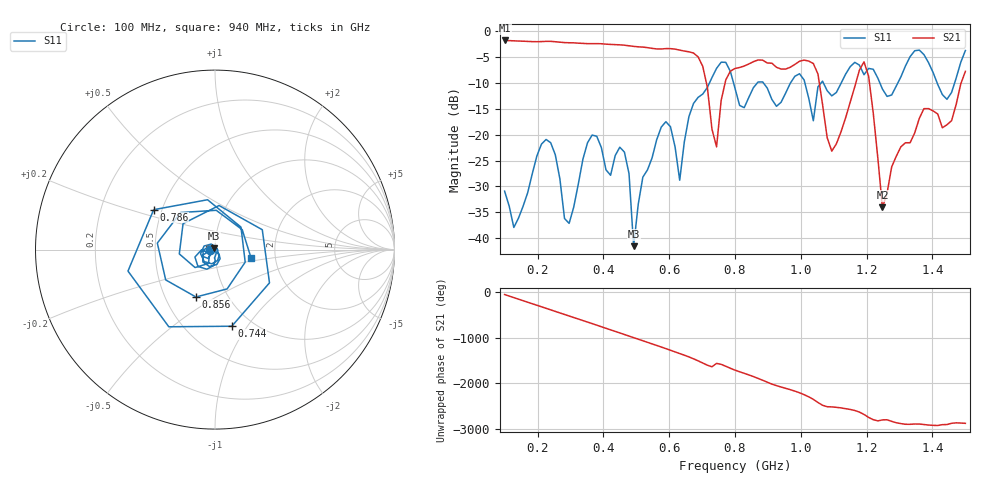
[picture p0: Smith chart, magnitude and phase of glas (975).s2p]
! NanoVNA-App
! Date: 2025-09-25 16:03:03
! Start: 100MHz Stop: 1,5GHz Points: 101
! S-Parameter data: F S11 S21 S12 S22
# Hz S RI R 50
!  Frequency  S11_Real  S11_Imag  S21_Real  S21_Imag  S12_Real  S12_Imag  S22_Real  S22_Imag
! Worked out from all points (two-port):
!   101 points, 100 MHz to 1.5 GHz, reference 50 ohm
!   highest |S21| = -1.80 dB at 100 MHz (marker M1); lowest = -34.1 dB at 1.248 GHz (marker M2)
!   |S21| within 3 dB of the highest: start of sweep to 684.7 MHz
!   lowest |S11| = -41.5 dB at 492 MHz (marker M3), VSWR 1.02, Z = 49.5 + j0.661 ohm
!   |S11| at or under -10 dB: start of sweep to 722.5 MHz; 795.5 MHz to 867.8 MHz (72.28 MHz wide, 8.69 % of centre); 886.3 MHz to 968.7 MHz (82.41 MHz wide, 8.89 % of centre) (the widest 3 of 7)
!   S12 and S22 are empty: the file has one direction only
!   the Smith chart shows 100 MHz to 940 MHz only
!   S11 on the Smith chart (normalised r, x): 100 MHz: 0.94, -0.01; 744 MHz: 0.81, -0.85; 786 MHz: 0.45, +0.24; 856 MHz: 0.71, -0.41; 940 MHz: 1.49, -0.14
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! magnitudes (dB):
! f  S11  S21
! 100 MHz  -30.9  -1.8
! 128 MHz  -37.9  -1.9
! 226 MHz  -20.9  -2.0
! 296 MHz  -37.1  -2.2
! 338 MHz  -24.7  -2.4
! 464 MHz  -23.4  -2.7
! 492 MHz  -41.5  -2.9
! 576 MHz  -18.5  -3.5
! 632 MHz  -28.8  -3.7
! 702 MHz  -12.2  -6.8
! 744 MHz  -7.2  -22.4
! 786 MHz  -7.8  -7.7
! 800 MHz  -11.0  -7.2
! 856 MHz  -10.9  -5.9
! 940 MHz  -13.7  -7.3
! 996 MHz  -8.2  -5.8
! 1.038 GHz  -17.3  -6.3
! 1.094 GHz  -12.5  -23.2
! 1.192 GHz  -8.4  -5.9
! 1.248 GHz  -11.2  -34.1
! 1.276 GHz  -12.3  -26.2
! 1.5 GHz  -3.7  -7.8
